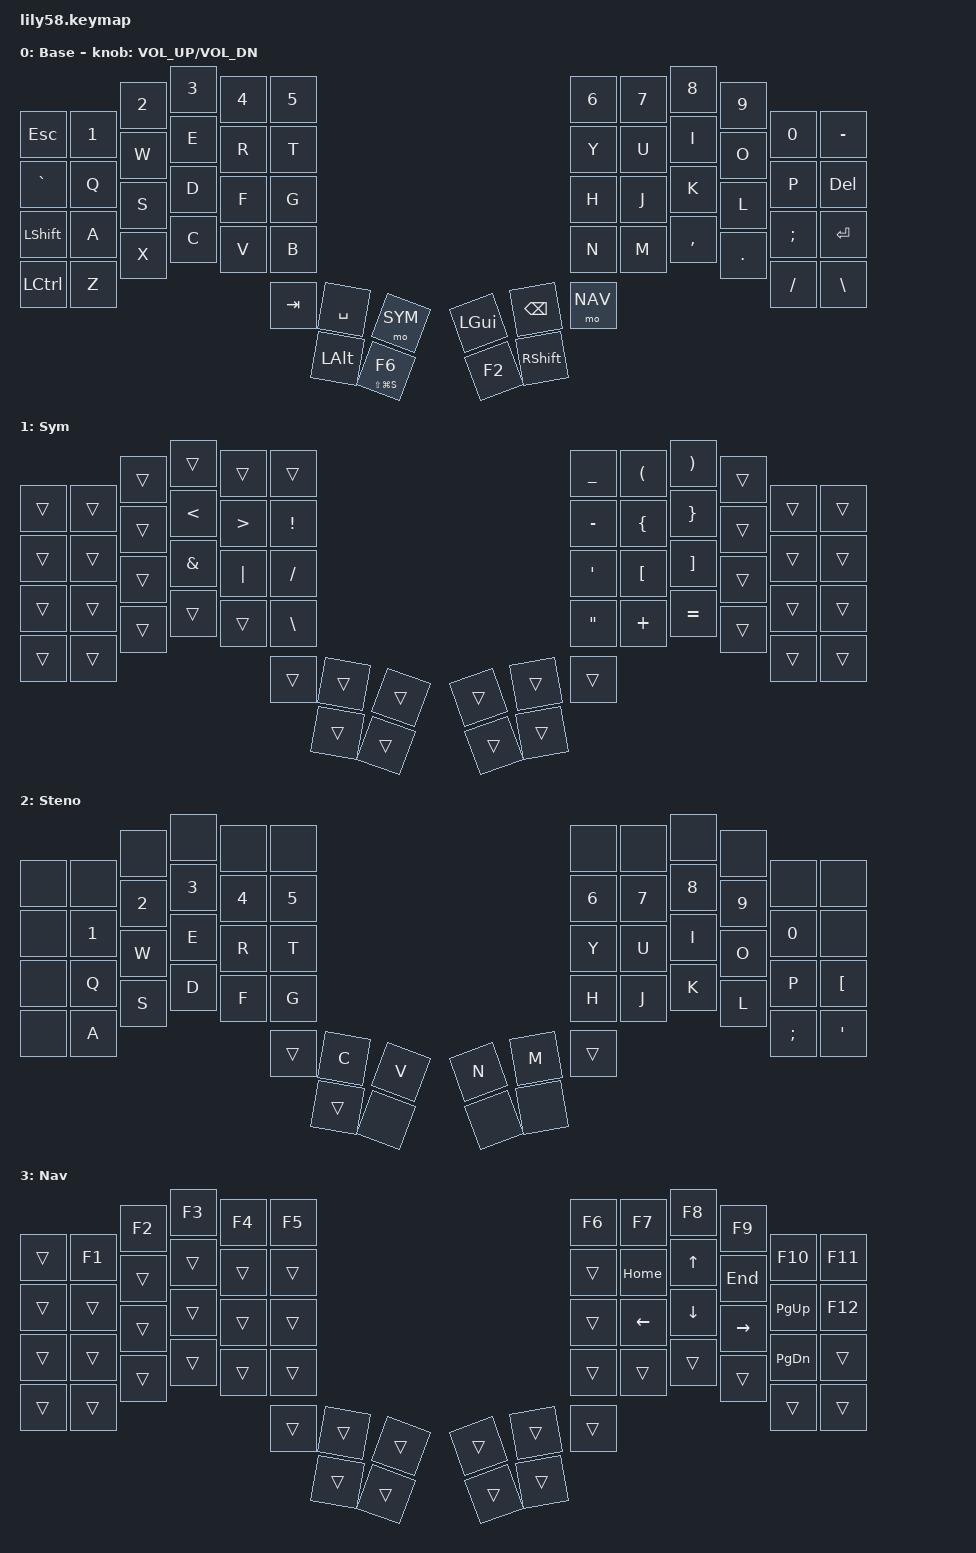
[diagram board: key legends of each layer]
/*
 * Copyright (c) 2020 The ZMK Contributors
 *
 * SPDX-License-Identifier: MIT
 */

#include <behaviors.dtsi>
#include <dt-bindings/zmk/keys.h>
#include <dt-bindings/zmk/bt.h>

// Layer numbers, in the order the layers appear in `keymap` below. STENO sits below NAV so that a
// held NAV still shows its arrows on top of it.
#define BASE 0
#define SYM 1
#define STENO 2
#define NAV 3

/*
 * Scylla physical layout, for ZMK Studio. The Scylla uses the Lily58 matrix and
 * key order, so the keymap below is unchanged: this only tells Studio where each
 * key sits. Same positions as config/info.json (the Keymap Editor's copy), in
 * hundredths of a key.
 */
/ {
    chosen {
        zmk,physical-layout = &scylla_layout;
    };

    scylla_layout: scylla_layout {
        compatible = "zmk,physical-layout";
        display-name = "Scylla";
        transform = <&default_transform>;

        keys  //                     w   h     x     y      rot    rx    ry
            = <&key_physical_attrs 100 100     0    91        0     0     0>
            , <&key_physical_attrs 100 100   100    91        0     0     0>
            , <&key_physical_attrs 100 100   200    32        0     0     0>
            , <&key_physical_attrs 100 100   300     0        0     0     0>
            , <&key_physical_attrs 100 100   400    21        0     0     0>
            , <&key_physical_attrs 100 100   500    21        0     0     0>
            , <&key_physical_attrs 100 100  1100    21        0     0     0>
            , <&key_physical_attrs 100 100  1200    21        0     0     0>
            , <&key_physical_attrs 100 100  1300     0        0     0     0>
            , <&key_physical_attrs 100 100  1400    32        0     0     0>
            , <&key_physical_attrs 100 100  1500    91        0     0     0>
            , <&key_physical_attrs 100 100  1600    91        0     0     0>
            , <&key_physical_attrs 100 100     0   191        0     0     0>
            , <&key_physical_attrs 100 100   100   191        0     0     0>
            , <&key_physical_attrs 100 100   200   132        0     0     0>
            , <&key_physical_attrs 100 100   300   100        0     0     0>
            , <&key_physical_attrs 100 100   400   121        0     0     0>
            , <&key_physical_attrs 100 100   500   121        0     0     0>
            , <&key_physical_attrs 100 100  1100   121        0     0     0>
            , <&key_physical_attrs 100 100  1200   121        0     0     0>
            , <&key_physical_attrs 100 100  1300   100        0     0     0>
            , <&key_physical_attrs 100 100  1400   132        0     0     0>
            , <&key_physical_attrs 100 100  1500   191        0     0     0>
            , <&key_physical_attrs 100 100  1600   191        0     0     0>
            , <&key_physical_attrs 100 100     0   291        0     0     0>
            , <&key_physical_attrs 100 100   100   291        0     0     0>
            , <&key_physical_attrs 100 100   200   232        0     0     0>
            , <&key_physical_attrs 100 100   300   200        0     0     0>
            , <&key_physical_attrs 100 100   400   221        0     0     0>
            , <&key_physical_attrs 100 100   500   221        0     0     0>
            , <&key_physical_attrs 100 100  1100   221        0     0     0>
            , <&key_physical_attrs 100 100  1200   221        0     0     0>
            , <&key_physical_attrs 100 100  1300   200        0     0     0>
            , <&key_physical_attrs 100 100  1400   232        0     0     0>
            , <&key_physical_attrs 100 100  1500   291        0     0     0>
            , <&key_physical_attrs 100 100  1600   291        0     0     0>
            , <&key_physical_attrs 100 100     0   391        0     0     0>
            , <&key_physical_attrs 100 100   100   391        0     0     0>
            , <&key_physical_attrs 100 100   200   332        0     0     0>
            , <&key_physical_attrs 100 100   300   300        0     0     0>
            , <&key_physical_attrs 100 100   400   321        0     0     0>
            , <&key_physical_attrs 100 100   500   321        0     0     0>
            , <&key_physical_attrs 100 100   716   468     2000   766   518>
            , <&key_physical_attrs 100 100   871   468  (-2000)   921   518>
            , <&key_physical_attrs 100 100  1100   321        0     0     0>
            , <&key_physical_attrs 100 100  1200   321        0     0     0>
            , <&key_physical_attrs 100 100  1300   300        0     0     0>
            , <&key_physical_attrs 100 100  1400   332        0     0     0>
            , <&key_physical_attrs 100 100  1500   391        0     0     0>
            , <&key_physical_attrs 100 100  1600   391        0     0     0>
            , <&key_physical_attrs 100 100   589   539     1000   639   589>
            , <&key_physical_attrs 100 100   686   564     2000   736   614>
            , <&key_physical_attrs 100 100   500   432        0     0     0>
            , <&key_physical_attrs 100 100   602   441     1000   652   491>
            , <&key_physical_attrs 100 100   986   441  (-1000)  1036   491>
            , <&key_physical_attrs 100 100  1100   432        0     0     0>
            , <&key_physical_attrs 100 100   902   564  (-2000)   952   614>
            , <&key_physical_attrs 100 100   998   539  (-1000)  1048   589>
            ;
    };
};

/* Drop the stock Lily58 drawing so Studio only offers the Scylla one. */
/delete-node/ &kata0510_lily58_layout;

/*
 * Key positions (index in each `bindings` list). Rows are listed top to bottom.
 *
 *   Left half                                   Right half
 *    0  1  2  3  4  5                            6  7  8  9 10 11
 *   12 13 14 15 16 17                           18 19 20 21 22 23
 *   24 25 26 27 28 29                           30 31 32 33 34 35
 *   36 37 38 39 40 41                           44 45 46 47 48 49
 *
 *   Left thumbs (Tab, Space, SYM, Alt, F6/Snip) Right thumbs (NAV, Bspc, GUI, Shift, F2)
 *     52 Tab   53 Space   42 SYM                  55 NAV   54 Bspc   43 GUI
 *     50 Alt   51 F6/Snip                         57 Shift 56 F2
 */

/ {
    combos {
        compatible = "zmk,combos";

        // Forget the pairing saved on the current Bluetooth profile, so the keyboard shows up
        // as a new device again. Press ~, \ and F2 together (positions 12, 49, 56).
        combo_clear_bluetooth {
            timeout-ms = <100>;
            key-positions = <12 49 56>;
            bindings = <&bt BT_CLR>;
        };

        // Switch the Steno layer on and off. Press ESC and - together (positions 0 and 11, the
        // outer top corners). Works from any layer; both keys are unbound on the Steno layer.
        combo_steno {
            timeout-ms = <100>;
            key-positions = <0 11>;
            bindings = <&tog STENO>;
        };
    };

    keymap {
        compatible = "zmk,keymap";

        base_layer {
            display-name = "Base";
            // ------------------------------------------------------------------------------------------------------
            // | ESC   |  1  |  2  |  3  |  4  |  5  |                       |  6  |  7  |  8  |  9  |  0  |  - _  |
            // | ~ `   |  Q  |  W  |  E  |  R  |  T  |                       |  Y  |  U  |  I  |  O  |  P  |  DEL  |
            // | SHIFT |  A  |  S  |  D  |  F  |  G  |                       |  H  |  J  |  K  |  L  |  ;  | ENTER |
            // | CTRL  |  Z  |  X  |  C  |  V  |  B  |  SYM  |  GUI  |     |  N  |  M  |  ,  |  .  |  /  |  \ |  |
            //                | ALT | F6/SNIP | TAB | SPACE |                  | BSPC | NAV | F2 | SHIFT |
            //   SYM and NAV = hold, F6/SNIP = tap F6 / hold Win+Shift+S (Snipping Tool).

            bindings = <
      &kp ESC     &kp N1  &kp N2  &kp N3  &kp N4  &kp N5                           &kp N6  &kp N7  &kp N8    &kp N9   &kp N0    &kp MINUS
      &kp GRAVE   &kp Q   &kp W   &kp E   &kp R   &kp T                            &kp Y   &kp U   &kp I     &kp O    &kp P     &kp DEL
      &kp LSHFT   &kp A   &kp S   &kp D   &kp F   &kp G                            &kp H   &kp J   &kp K     &kp L    &kp SEMI  &kp RET
      &kp LCTRL   &kp Z   &kp X   &kp C   &kp V   &kp B   &mo SYM     &kp LGUI     &kp N   &kp M   &kp COMMA &kp DOT  &kp FSLH  &kp BSLH
                                  &kp LALT &mt LS(LG(S)) F6 &kp TAB &kp SPACE   &kp BSPC &mo NAV &kp F2 &kp RSHFT
            >;

            sensor-bindings = <&inc_dec_kp C_VOL_UP C_VOL_DN>;
        };

        // Coding symbols. Hold the left thumb key next to Space (position 42).
        // Empty cells are transparent: they type the base-layer key.
        sym_layer {
            display-name = "Sym";
            // ------------------------------------------------------------------------------------------------------
            // |       |     |     |     |     |     |                       |  _  |  (  |  )  |     |     |       |
            // |       |     |     |  <  |  >  |  !  |                       |  -  |  {  |  }  |     |     |       |
            // |       |     |     |  &  |  |  |  /  |                       |  '  |  [  |  ]  |     |     |       |
            // |       |     |     |     |     |  \  |           |     |     |  "  |  +  |  =  |     |     |       |

            bindings = <
      &trans   &trans  &trans  &trans  &trans  &trans                            &kp UNDER  &kp LPAR  &kp RPAR  &trans  &trans  &trans
      &trans   &trans  &trans  &kp LT  &kp GT  &kp EXCL                          &kp MINUS  &kp LBRC  &kp RBRC  &trans  &trans  &trans
      &trans   &trans  &trans  &kp AMPS &kp PIPE &kp FSLH                        &kp SQT    &kp LBKT  &kp RBKT  &trans  &trans  &trans
      &trans   &trans  &trans  &trans  &trans  &kp BSLH &trans  &trans            &kp DQT    &kp PLUS  &kp EQUAL &trans  &trans  &trans
                               &trans  &trans  &trans  &trans  &trans  &trans  &trans  &trans
            >;
        };

        // Stenography for Plover in keyboard mode. Toggle with ESC + - (see combo_steno). Every key
        // sends the QWERTY key Plover's default map expects, so Plover needs no key setup: this layer
        // only moves those keys to other positions. Q-row = number bar, A-row = top steno row,
        // Z-row = bottom steno row; the thumbs are the vowels (A O left, E U right).
        // Alt (50), Tab (52) and NAV (55) are transparent: they use the base layer's keys.
        // Unused keys are &none so no stray letter reaches Plover.
        steno_layer {
            display-name = "Steno";
            // ------------------------------------------------------------------------------------------------------
            // |       |     |     |     |     |     |                       |     |     |     |     |     |       |
            // |       |  #  |  #  |  #  |  #  |  #  |                       |  #  |  #  |  #  |  #  |  #  |       |
            // |       |  S  |  T  |  P  |  H  |  *  |                       |  *  | -F  | -P  | -L  | -T  |  -D   |
            // |       |  S  |  K  |  W  |  R  |  *  |   O   |   E   |       |  *  | -R  | -B  | -G  | -S  |  -Z   |
            //                | Alt |     | Tab |  A  |                         |  U  | NAV |     |     |

            bindings = <
      &none  &none   &none   &none   &none   &none                            &none   &none   &none   &none   &none    &none
      &none  &kp N1  &kp N2  &kp N3  &kp N4  &kp N5                           &kp N6  &kp N7  &kp N8  &kp N9  &kp N0   &none
      &none  &kp Q   &kp W   &kp E   &kp R   &kp T                            &kp Y   &kp U   &kp I   &kp O   &kp P    &kp LBKT
      &none  &kp A   &kp S   &kp D   &kp F   &kp G   &kp V   &kp N            &kp H   &kp J   &kp K   &kp L   &kp SEMI &kp SQT
                              &trans  &none   &trans  &kp C   &kp M   &trans  &none   &none
            >;
        };

        // Navigation. Hold the right thumb key at position 55; the layer ends when you let go.
        // IJKL = arrows (inverted T). Number row = F-keys, since the base layer only has F2 and F6.
        nav_layer {
            display-name = "Nav";
            // ------------------------------------------------------------------------------------------------------
            // |       | F1  | F2  | F3  | F4  | F5  |                       | F6  | F7  | F8  | F9  | F10 | F11   |
            // |       |     |     |     |     |     |                       |     |HOME |  ^  | END |PG UP| F12   |
            // |       |     |     |     |     |     |                       |     |  <  |  v  |  >  |PG DN|       |
            // |       |     |     |     |     |     |           |     |     |     |     |     |     |     |       |

            bindings = <
      &trans   &kp F1  &kp F2  &kp F3  &kp F4  &kp F5                           &kp F6  &kp F7    &kp F8    &kp F9     &kp F10    &kp F11
      &trans   &trans  &trans  &trans  &trans  &trans                            &trans  &kp HOME  &kp UP    &kp END    &kp PG_UP  &kp F12
      &trans   &trans  &trans  &trans  &trans  &trans                            &trans  &kp LEFT  &kp DOWN  &kp RIGHT  &kp PG_DN  &trans
      &trans   &trans  &trans  &trans  &trans  &trans  &trans  &trans            &trans  &trans    &trans    &trans     &trans     &trans
                               &trans  &trans  &trans  &trans  &trans  &trans  &trans  &trans
            >;
        };
    };
};
